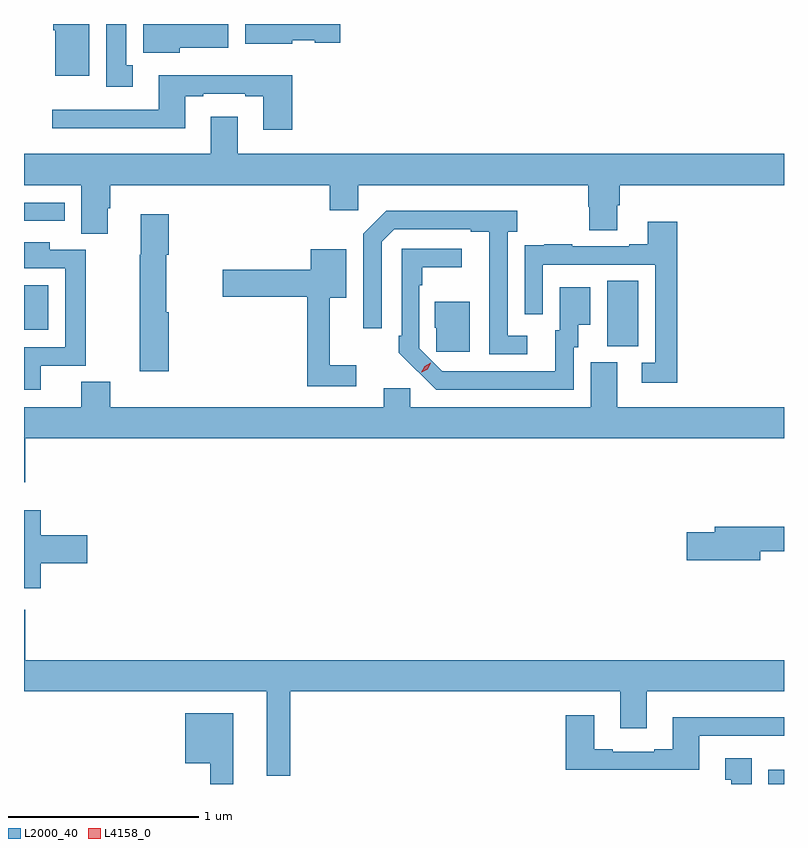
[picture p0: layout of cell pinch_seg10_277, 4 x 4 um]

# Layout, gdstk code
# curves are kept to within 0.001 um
import gdstk
lib = gdstk.Library(unit=1e-6, precision=1e-09)
def R(c, l, rs):  # rectangles x0, y0, x1, y1
    for r in rs: c.add(gdstk.rectangle(r[:2], r[2:], *l))
def P(c, l, *ps):  # polygons
    for p in ps: c.add(gdstk.Polygon(p, *l))
L2000_40 = (2000, 40)
L4158_0 = (4158, 0)

pinch_seg10_277 = lib.new_cell('pinch_seg10_277')
R(pinch_seg10_277, L2000_40, [(498.101,1294.5,498.183,1294.576), (497.252,1296.805,497.416,1297.148), (494.183,1296.89,494.311,1297.126), (494.183,1297.464,494.398,1297.56)])
P(pinch_seg10_277, L2000_40, [(494.527,1298.5),(494.336,1298.5),(494.336,1298.468),(494.348,1298.468),(494.348,1298.228),(494.527,1298.228)],
  [(494.755,1298.282),(494.722,1298.282),(494.722,1298.5),(494.615,1298.5),(494.615,1298.169),(494.755,1298.169)],
  [(495.003,1298.375),(495.259,1298.375),(495.259,1298.5),(494.81,1298.5),(494.81,1298.348),(495.003,1298.348)],
  [(495.594,1298.414),(495.714,1298.414),(495.714,1298.402),(495.847,1298.402),(495.847,1298.5),(495.347,1298.5),(495.347,1298.396),(495.594,1298.396)],
  [(495.596,1298.23),(495.15,1298.23),(495.15,1298.229),(494.891,1298.229),(494.891,1298.049),(494.331,1298.049),(494.331,1297.952),(495.031,1297.952),(495.031,1298.121),(495.127,1298.121),(495.127,1298.133),(495.347,1298.133),(495.347,1298.121),(495.443,1298.121),(495.443,1297.944),(495.596,1297.944)],
  [(495.307,1298.011),(495.167,1298.011),(495.167,1297.816),(494.183,1297.816),(494.183,1297.652),(494.483,1297.652),(494.483,1297.396),(494.623,1297.396),(494.623,1297.53),(494.636,1297.53),(494.636,1297.652),(495.791,1297.652),(495.791,1297.521),(495.942,1297.521),(495.942,1297.652),(497.153,1297.652),(497.153,1297.539),(497.158,1297.539),(497.158,1297.414),(497.305,1297.414),(497.305,1297.546),(497.318,1297.546),(497.318,1297.652),(498.183,1297.652),(498.183,1297.816),(495.307,1297.816)],
  [(496.831,1296.858),(496.728,1296.858),(496.728,1297.406),(496.78,1297.406),(496.78,1297.516),(496.09,1297.516),(495.969,1297.395),(495.969,1296.9),(496.065,1296.9),(496.065,1297.353),(496.131,1297.419),(496.535,1297.419),(496.535,1297.407),(496.631,1297.407),(496.632,1296.762),(496.831,1296.762)],
  [(494.945,1296.984),(494.932,1296.984),(494.932,1297.285),(494.945,1297.285),(494.945,1297.498),(494.798,1297.498),(494.798,1297.285),(494.791,1297.285),(494.791,1296.672),(494.945,1296.672)],
  [(497.621,1297.459),(497.465,1297.459),(497.465,1297.342),(497.369,1297.342),(497.369,1297.329),(497.069,1297.329),(497.069,1297.342),(496.921,1297.342),(496.921,1297.335),(496.819,1297.335),(496.819,1297.226),(496.818,1297.226),(496.818,1296.972),(496.914,1296.972),(496.914,1297.233),(497.505,1297.233),(497.505,1296.717),(497.433,1296.717),(497.433,1296.612),(497.621,1296.612)],
  [(494.27,1296.702),(494.509,1296.702),(494.509,1297.311),(494.319,1297.311),(494.319,1297.351),(494.183,1297.351),(494.183,1297.215),(494.4,1297.215),(494.4,1296.798),(494.183,1296.798),(494.183,1296.576),(494.27,1296.576)],
  [(497.076,1296.798),(497.101,1296.798),(497.101,1296.917),(497.164,1296.917),(497.164,1297.114),(497.003,1297.114),(497.003,1296.888),(496.979,1296.888),(496.979,1296.672),(496.384,1296.672),(496.263,1296.793),(496.264,1297.124),(496.279,1297.124),(496.279,1297.22),(496.486,1297.22),(496.486,1297.317),(496.17,1297.317),(496.17,1296.859),(496.155,1296.859),(496.155,1296.771),(496.352,1296.576),(497.076,1296.576)],
  [(495.931,1296.703),(495.791,1296.703),(495.791,1297.058),(495.88,1297.058),(495.88,1297.315),(495.692,1297.315),(495.692,1297.206),(495.228,1297.206),(495.228,1297.064),(495.673,1297.064),(495.673,1296.594),(495.931,1296.594)],
  [(496.53,1297.038),(496.345,1297.038),(496.345,1296.901),(496.354,1296.901),(496.354,1296.774),(496.53,1296.774)],
  [(494.189,1296.32),(498.183,1296.32),(498.183,1296.484),(497.305,1296.484),(497.305,1296.72),(497.165,1296.72),(497.165,1296.484),(496.215,1296.484),(496.215,1296.582),(496.076,1296.582),(496.076,1296.484),(494.636,1296.484),(494.636,1296.617),(494.483,1296.617),(494.483,1296.484),(494.183,1296.484),(494.183,1296.087),(494.189,1296.087)],
  [(494.272,1295.663),(494.515,1295.663),(494.515,1295.81),(494.272,1295.81),(494.272,1295.941),(494.183,1295.941),(494.183,1295.531),(494.272,1295.531)],
  [(498.058,1295.725),(498.183,1295.725),(498.183,1295.854),(497.819,1295.854),(497.819,1295.825),(497.67,1295.825),(497.67,1295.678),(498.058,1295.678)],
  [(495.583,1294.988),(497.321,1294.988),(497.321,1294.794),(497.461,1294.794),(497.461,1294.988),(498.183,1294.988),(498.183,1295.152),(494.189,1295.152),(494.189,1295.416),(494.183,1295.416),(494.183,1294.988),(495.461,1294.988),(495.461,1294.544),(495.583,1294.544)],
  [(495.283,1294.873),(495.032,1294.873),(495.032,1294.61),(495.162,1294.61),(495.162,1294.5),(495.283,1294.5)],
  [(497.737,1294.755),(498.183,1294.755),(498.183,1294.852),(497.597,1294.852),(497.597,1294.684),(497.501,1294.684),(497.501,1294.671),(497.281,1294.671),(497.281,1294.684),(497.185,1294.684),(497.185,1294.861),(497.033,1294.861),(497.033,1294.574),(497.737,1294.574)],
  [(498.013,1294.636),(497.873,1294.636),(497.873,1294.523),(497.906,1294.523),(497.906,1294.5),(498.013,1294.5)])
P(pinch_seg10_277, L4158_0, [(496.275,1296.666),(496.275,1296.666),(496.293,1296.698),(496.325,1296.717),(496.325,1296.717),(496.325,1296.717),(496.307,1296.684),(496.276,1296.666)])

lib.write_gds('pinch_seg10_277.gds')
